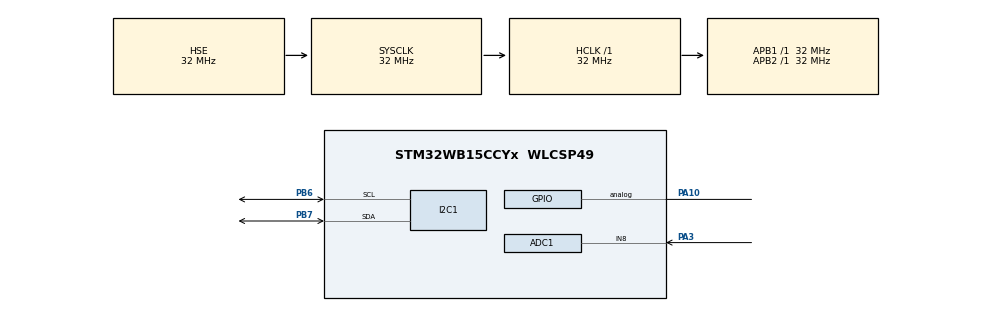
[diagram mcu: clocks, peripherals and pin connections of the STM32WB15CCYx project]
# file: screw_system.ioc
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ADC1.Channel-0\#ChannelRegularConversion=ADC_CHANNEL_8
ADC1.NbrOfConversionFlag=1
ADC1.Rank-0\#ChannelRegularConversion=1
ADC1.SamplingTime-0\#ChannelRegularConversion=ADC_SAMPLINGTIME_COMMON_1
ADC1.SelectedChannel=ADC_CHANNEL_8
ADC1.master=1
I2C1.Timing=0x00B07CB4
Mcu.Family=STM32WB
Mcu.Name=STM32WB15CCYx
Mcu.Package=WLCSP49
NVIC.HSEM_IRQn=true\:0\:0\:false\:false\:true\:false\:true\:true
NVIC.IPCC_C1_RX_IRQn=true\:0\:0\:false\:false\:true\:true\:true\:true
NVIC.IPCC_C1_TX_IRQn=true\:0\:0\:false\:false\:true\:true\:true\:true
NVIC.PriorityGroup=NVIC_PRIORITYGROUP_4
NVIC.RTC_WKUP_IRQn=true\:0\:0\:false\:false\:true\:true\:true\:true
OSC_IN.Mode=HSE-External-Oscillator
OSC_IN.Signal=RCC_OSC_IN
OSC_OUT.Mode=HSE-External-Oscillator
OSC_OUT.Signal=RCC_OSC_OUT
PA10.Signal=GPIO_Analog
PA3.Signal=ADCx_IN8
PB6.GPIO_Pu=GPIO_PULLUP
PB6.Mode=I2C
PB6.Signal=I2C1_SCL
PB7.GPIO_Pu=GPIO_PULLUP
PB7.Mode=I2C
PB7.Signal=I2C1_SDA
PC14-OSC32_IN.Mode=LSE-External-Oscillator
PC14-OSC32_IN.Signal=RCC_OSC32_IN
PC15-OSC32_OUT.Mode=LSE-External-Oscillator
PC15-OSC32_OUT.Signal=RCC_OSC32_OUT
ProjectManager.HeapSize=0x400
ProjectManager.StackSize=0x1000
ProjectManager.TargetToolchain=STM32CubeIDE
RCC.AHBFreq_Value=32000000
RCC.APB1Freq_Value=32000000
RCC.APB1TimFreq_Value=32000000
RCC.APB2Freq_Value=32000000
RCC.APB2TimFreq_Value=32000000
RCC.APB3Freq_Value=16000000
RCC.CK48CLockSelection=RCC_USBCLKSOURCE_PLL
RCC.CortexFreq_Value=32000000
RCC.HCLKFreq_Value=32000000
RCC.HSE_VALUE=32000000
RCC.HSI_VALUE=16000000
RCC.LSE_Drive_Capability=RCC_LSEDRIVE_LOW
RCC.MSIAutoCalibration=DISABLED
RCC.MSIClockRange=RCC_MSIRANGE_10
RCC.PLLSourceVirtual=RCC_PLLSOURCE_HSI
RCC.RFWKPClockSelection=RCC_RFWKPCLKSOURCE_LSE
RCC.RNGCLockSelection=RCC_RNGCLKSOURCE_LSE
RCC.RTCClockSelection=RCC_RTCCLKSOURCE_LSE
RCC.SMPSCLockSelectionVirtual=RCC_SMPSCLKSOURCE_HSE
RCC.SMPSDivider=4
RCC.SYSCLKFreq_VALUE=32000000
RCC.SYSCLKSource=RCC_SYSCLKSOURCE_HSE
RCC.VCOOutputFreq_Value=128000000
RF1.Mode=RF1_Activate
RF1.Signal=RF_RF1
SH.ADCx_IN8.0=ADC1_IN8,IN8-Single-Ended
STM32_WPAN.BLE_CFG_SVC_MAX_NBR_CB=1
STM32_WPAN.BLE_DBG_P2P_STM_EN=1
STM32_WPAN.CFG_BLE_MAX_TX_POWER=6
STM32_WPAN.CFG_BLE_MIN_TX_POWER=-40
STM32_WPAN.CFG_DEBUG_APP_TRACE=1
STM32_WPAN.CFG_DEBUG_BLE_TRACE=1
STM32_WPAN.CFG_DEBUG_TRACE_LIGHT=1
STM32_WPAN.CFG_DEBUG_TRACE_UART=hw_uart1
STM32_WPAN.CFG_HW_USART1_DMA_TX_SUPPORTED=0
STM32_WPAN.CFG_HW_USART1_ENABLED=1
STM32_WPAN.CFG_LPM_SUPPORTED=1
STM32_WPAN.CFG_LSCLK_LSE=0
STM32_WPAN.L2CAP_REQUEST_NEW_CONN_PARAM=1
VP_HSEM_VS_HSEM.Mode=HSEM_Activate
VP_IPCC_VS_IPCC.Mode=IPCC_Activate
VP_MEMORYMAP_VS_MEMORYMAP.Mode=CurAppReg
VP_RNG_VS_RNG.Mode=RNG_Activate
VP_RTC_VS_RTC_Activate.Mode=RTC_Enabled
VP_RTC_VS_RTC_WakeUp_intern.Mode=WakeUp
VP_SEQUENCER_VS_SEQUENCER.Mode=SEQUENCER_Enabled
VP_STM32_WPAN_VS_BLE_HOST.Mode=STM32_WPAN_Enabled
VP_TINY_LPM_VS_TINY_LPM.Mode=TINY_LPM_Enabled
board=custom

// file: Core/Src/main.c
/* USER CODE BEGIN Header */
/**
 ******************************************************************************
 * @file           : main.c
 * @brief          : Main program body
 ******************************************************************************
 * @attention
 *
 * Copyright (c) 2026 STMicroelectronics.
 * All rights reserved.
 *
 * This software is licensed under terms that can be found in the LICENSE file
 * in the root directory of this software component.
 * If no LICENSE file comes with this software, it is provided AS-IS.
 *
 ******************************************************************************
 */
/* USER CODE END Header */
#include "main.h"
#include "adc.h"
#include "i2c.h"
#include "ipcc.h"
#include "rf.h"
#include "rng.h"
#include "rtc.h"
#include "gpio.h"

/* USER CODE BEGIN Includes */
#include "app_lsm6dstlr.h"
#include "app_straingauge.h"
#include "app_stts22htr.h"
#include "p2p_server_app.h"
/* USER CODE END Includes */

/* USER CODE BEGIN PTD */
LSM6DSL_Data_t 						imu_data;
float temp_c 				= 		0.0;
uint16_t strain_adc_raw 	= 		0;
/* USER CODE END PTD */

void SystemClock_Config(void);
void PeriphCommonClock_Config(void);

int main(void)
{

  /* MCU Configuration--------------------------------------------------------*/

  /* Reset of all peripherals, Initializes the Flash interface and the Systick. */
  HAL_Init();
  /* Config code for STM32_WPAN (HSE Tuning must be done before system clock configuration) */
  MX_APPE_Config();

  /* Configure the system clock */
  SystemClock_Config();

  /* Configure the peripherals common clocks */
  PeriphCommonClock_Config();

  /* IPCC initialisation */
  MX_IPCC_Init();

  /* Initialize all configured peripherals */
  MX_GPIO_Init();
  MX_RTC_Init();
  MX_RNG_Init();
  MX_I2C1_Init();
  MX_ADC1_Init();
  MX_RF_Init();

  /* Init code for STM32_WPAN */
  MX_APPE_Init();

  /* Infinite loop */
  /* USER CODE BEGIN WHILE */

	LSM6DSL_Init();
	STTS22H_Init();

	while (1) {
    /* USER CODE END WHILE */
    MX_APPE_Process();

    /* USER CODE BEGIN 3 */
		LSM6DSL_ReadData(&imu_data);

		accel_x = imu_data.app_accel_x;
		accel_y = imu_data.app_accel_y;
		accel_z = imu_data.app_accel_z;

		gyro_x = imu_data.app_gyro_x;
		gyro_y = imu_data.app_gyro_y;
		gyro_z = imu_data.app_gyro_z;

		HAL_Delay(100);

		STTS22H_ReadTemp(&temp_c);

		temperature = temp_c;

		HAL_Delay(100);

		APP_StrainGauge_ReadRaw(&strain_adc_raw);

		strain_raw = strain_adc_raw;

		HAL_Delay(100);
	}
  /* USER CODE END 3 */
}

void SystemClock_Config(void)
{
  RCC_OscInitTypeDef RCC_OscInitStruct = {0};
  RCC_ClkInitTypeDef RCC_ClkInitStruct = {0};

  /** Configure LSE Drive Capability
  */
  HAL_PWR_EnableBkUpAccess();
  __HAL_RCC_LSEDRIVE_CONFIG(RCC_LSEDRIVE_LOW);

  /** Initializes the RCC Oscillators according to the specified parameters
  * in the RCC_OscInitTypeDef structure.
  */
  RCC_OscInitStruct.OscillatorType = RCC_OSCILLATORTYPE_HSI|RCC_OSCILLATORTYPE_HSE
                              |RCC_OSCILLATORTYPE_LSE;
  RCC_OscInitStruct.HSEState = RCC_HSE_ON;
  RCC_OscInitStruct.LSEState = RCC_LSE_ON;
  RCC_OscInitStruct.HSIState = RCC_HSI_ON;
  RCC_OscInitStruct.HSICalibrationValue = RCC_HSICALIBRATION_DEFAULT;
  RCC_OscInitStruct.PLL.PLLState = RCC_PLL_NONE;
  if (HAL_RCC_OscConfig(&RCC_OscInitStruct) != HAL_OK)
  {
    Error_Handler();
  }

  /** Configure the SYSCLKSource, HCLK, PCLK1 and PCLK2 clocks dividers
  */
  RCC_ClkInitStruct.ClockType = RCC_CLOCKTYPE_HCLK4|RCC_CLOCKTYPE_HCLK2
                              |RCC_CLOCKTYPE_HCLK|RCC_CLOCKTYPE_SYSCLK
                              |RCC_CLOCKTYPE_PCLK1|RCC_CLOCKTYPE_PCLK2;
  RCC_ClkInitStruct.SYSCLKSource = RCC_SYSCLKSOURCE_HSE;
  RCC_ClkInitStruct.AHBCLKDivider = RCC_SYSCLK_DIV1;
  RCC_ClkInitStruct.APB1CLKDivider = RCC_HCLK_DIV1;
  RCC_ClkInitStruct.APB2CLKDivider = RCC_HCLK_DIV1;
  RCC_ClkInitStruct.AHBCLK2Divider = RCC_SYSCLK_DIV1;
  RCC_ClkInitStruct.AHBCLK4Divider = RCC_SYSCLK_DIV1;

  if (HAL_RCC_ClockConfig(&RCC_ClkInitStruct, FLASH_LATENCY_1) != HAL_OK)
  {
    Error_Handler();
  }
}

void PeriphCommonClock_Config(void)
{
  RCC_PeriphCLKInitTypeDef PeriphClkInitStruct = {0};

  /** Initializes the peripherals clock
  */
  PeriphClkInitStruct.PeriphClockSelection = RCC_PERIPHCLK_SMPS|RCC_PERIPHCLK_RFWAKEUP;
  PeriphClkInitStruct.RFWakeUpClockSelection = RCC_RFWKPCLKSOURCE_LSE;
  PeriphClkInitStruct.SmpsClockSelection = RCC_SMPSCLKSOURCE_HSE;
  PeriphClkInitStruct.SmpsDivSelection = RCC_SMPSCLKDIV_RANGE1;

  if (HAL_RCCEx_PeriphCLKConfig(&PeriphClkInitStruct) != HAL_OK)
  {
    Error_Handler();
  }
}

void Error_Handler(void)
{
	__disable_irq();
	while (1) {
	}
}
